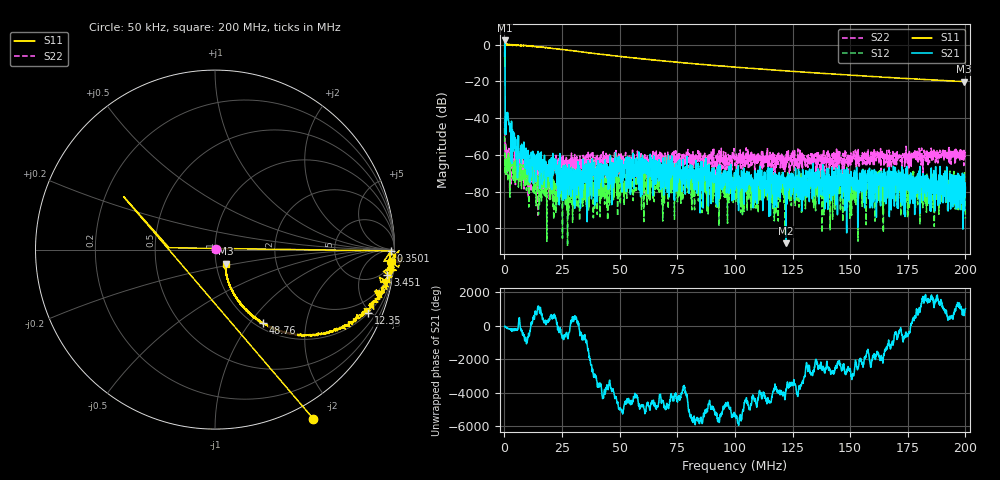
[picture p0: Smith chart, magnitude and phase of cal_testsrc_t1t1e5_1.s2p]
! 26-Feb-26 1:45:19 PM
! E:\VNA_MEASUREMENTS\CAL_S11\CAL_TESTSRC_T1T1E5_1.S2P
! CHANNEL.1
! TR.MEASUREMENT
! CORRECTED.DATA
# GHZ S RI R 50.0
! FREQ.GHZ  S11RE  S11IM  S21RE  S21IM  S12RE  S12IM  S22RE  S22IM
!; PortSelection: Port_12
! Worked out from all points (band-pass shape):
!   2000 points, 50 kHz to 200 MHz, reference 50 ohm
!   highest |S21| = 2.31 dB at 150 kHz (marker M1); lowest = -108.1 dB at 122.2 MHz (marker M2)
!   |S21| within 3 dB of the highest: 114.4 kHz to 181.2 kHz (66.8 kHz wide, 45.2 % of centre)
!   lowest |S11| = -20.1 dB at 199.4 MHz (marker M3), VSWR 1.22, Z = 55.5 - j8.86 ohm
!   |S11| at or under -10 dB: 224.7 kHz to 265.7 kHz (41.05 kHz wide, 16.7 % of centre); 78.59747 MHz to 78.80634 MHz (208.9 kHz wide, 0.265 % of centre); 78.89 MHz to end of sweep
!   |S22| runs from -92.8 to -42.0 dB; largest |S21 - S12| = 1.3
!   S11 on the Smith chart (normalised r, x): 50 kHz: -0.17, -1.73; 350.1 kHz: 91, -36; 3.451 MHz: 3, -13; 12.35 MHz: 1.02, -4.83; 48.76 MHz: 1.09, -1.16; 200 MHz: 1.11, -0.18
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5e-05  0.5482 -0.9428  0.262 -0.4199  0.00186 -0.00505  0.00533 0.00586
0.000150025  -0.5091 0.2949  1.165 -0.5857  6.03e-05 -0.000366  0.00198 -0.00548
0.000350075  0.9812 -0.00751  0.00141 -0.00332  -0.000202 0.000256  -0.000122 -0.000712
0.001350325  1.008 -0.0646  -0.014 -0.00272  -0.000611 -0.000584  -0.000779 0.000213
0.00345085  0.9609 -0.1394  -0.00348 0.00344  -0.000498 0.000565  0.000279 -0.000896
0.005951476  0.9507 -0.1955  0.000297 -0.000193  0.000369 0.000316  0.000468 0.000284
0.008452101  0.9126 -0.238  -0.00222 0.000331  -0.000206 -9.13e-05  0.000118 -5.4e-06
0.01065265  0.8752 -0.3074  -0.000353 0.000903  8.59e-05 0.000108  0.00049 3.36e-05
0.01235308  0.8526 -0.352  -3.81e-05 0.000993  0.000228 -0.000166  0.000179 -0.00013
0.02155538  0.6388 -0.4597  -0.000394 -0.000432  -0.000191 -9.68e-05  0.000338 0.000161
0.0264566  0.5385 -0.4794  -0.000527 -6.68e-05  3.9e-06 4.02e-05  0.000628 -0.000309
0.03345835  0.4287 -0.4684  -0.000144 2.9e-05  6.11e-05 -8.78e-05  0.000735 2.6e-06
0.04876218  0.2688 -0.4066  -0.000182 0.00021  -4.35e-05 -6.49e-05  0.000512 0.000553
0.05096273  0.2465 -0.4018  -6.17e-05 -7.59e-05  -0.000308 -0.0001  0.000575 0.000452
0.06086521  0.1964 -0.3582  -0.000277 -0.00043  -0.000154 -2.5e-06  0.000921 0.000428
0.06676668  0.1715 -0.3337  0.000398 -0.000344  0.000135 -0.00017  0.000792 4.27e-05
0.100075  0.0943 -0.2272  4.43e-05 -0.000107  2.86e-05 0.000175  0.000549 0.000621
0.1221805  0.0749 -0.1798  -3.9e-06 6e-07  -1.5e-05 -8.85e-05  0.000493 0.000218
0.1333833  0.068 -0.1592  0.000361 -0.00011  0.000128 -3.01e-05  0.000189 0.000786
0.1666917  0.0595 -0.1132  -0.00021 -0.000176  0.000162 -8.66e-05  0.000315 0.000411
0.1993998  0.0589 -0.079  -0.000155 -0.000244  -8.34e-05 7.33e-05  0.000862 0.00101
0.2  0.0594 -0.0789  4.78e-05 -0.000121  -3.5e-06 1.82e-05  0.000252 0.00111
